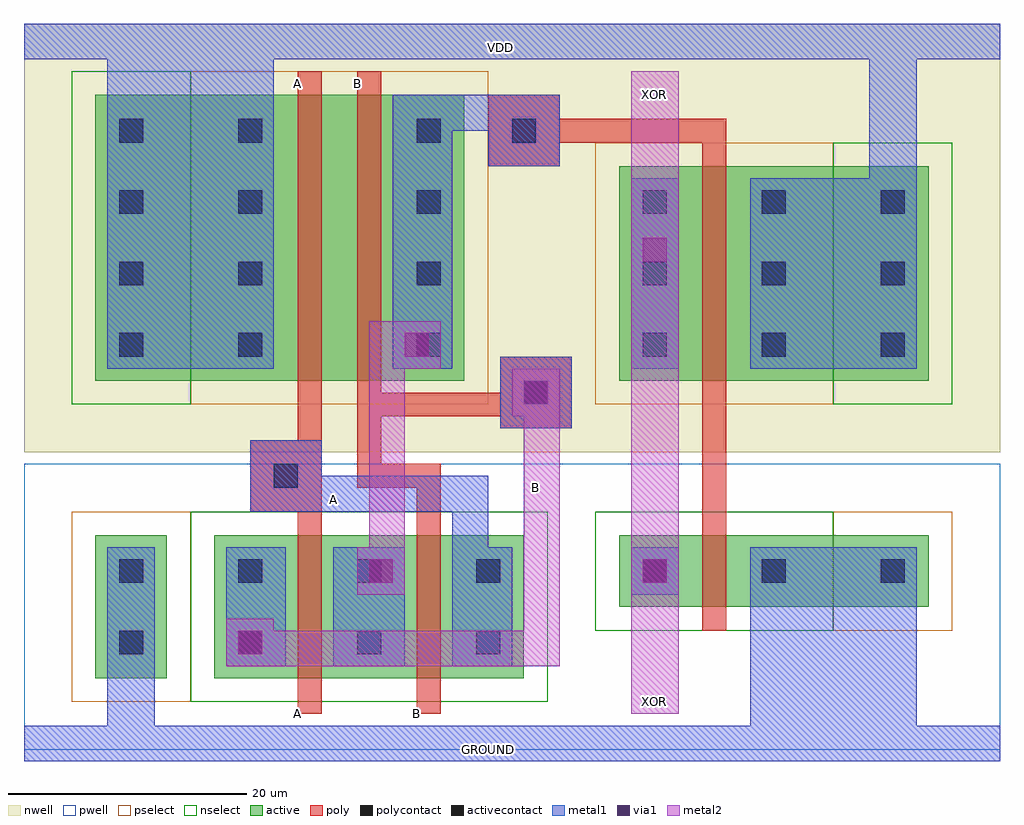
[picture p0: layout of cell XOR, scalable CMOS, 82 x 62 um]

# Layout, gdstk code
import gdstk
lib = gdstk.Library(unit=1e-6, precision=1e-09)
def R(c, l, rs):  # rectangles x0, y0, x1, y1
    for r in rs: c.add(gdstk.rectangle(r[:2], r[2:], *l))
def A(c, l, x, y, w, h, nx, ny, dx, dy):  # array of equal rectangles
    R(c, l, [(x+i*dx, y+j*dy, x+i*dx+w, y+j*dy+h) for i in range(nx) for j in range(ny)])
def P(c, l, *ps):  # polygons
    for p in ps: c.add(gdstk.Polygon(p, *l))
pwell = (41, 0)
nwell = (42, 0)
active = (43, 0)
pselect = (44, 0)
nselect = (45, 0)
poly = (46, 0)
polycontact = (47, 0)
activecontact = (48, 0)
metal1 = (49, 0)
via1 = (50, 0)
metal2 = (51, 0)

xor = lib.new_cell('XOR')
R(xor, pwell, [(-36,-45,46,-21)])
R(xor, nwell, [(-36,-20,46,16)])
R(xor, active, [(-30,-39,-24,-27), (-20,-39,6,-27), (14,-33,40,-27), (-30,-14,1,10), (14,-14,40,4)])
R(xor, pselect, [(-32,-41,-22,-25), (32,-35,42,-25), (-22,-16,3,12), (12,-16,32,6)])
R(xor, nselect, [(-22,-41,8,-25), (12,-35,32,-25), (-32,-16,-22,12), (32,-16,42,6)])
P(xor, poly, [(-8,-23),(-3,-23),(-3,-42),(-1,-42),(-1,-21),(-6,-21),(-6,-17),(4,-17),(4,-18),(10,-18),(10,-12),(4,-12),(4,-15),(-6,-15),(-6,12),(-8,12)],
  [(3,4),(9,4),(9,6),(21,6),(21,-35),(23,-35),(23,8),(9,8),(9,10),(3,10)],
  [(-17,-25),(-13,-25),(-13,-42),(-11,-42),(-11,12),(-13,12),(-13,-19),(-17,-19)])
R(xor, polycontact, [(-15,-23,-13,-21), (6,-16,8,-14), (5,6,7,8)])
A(xor, activecontact, -28, -37, 2, 2, 4, 2, 10, 6)
A(xor, activecontact, 16, -31, 2, 2, 3, 2, 10, 19)
A(xor, activecontact, -28, -12, 2, 2, 1, 4, 0, 6)
A(xor, activecontact, -18, -12, 2, 2, 1, 4, 0, 6)
A(xor, activecontact, -3, -12, 2, 2, 1, 4, 0, 6)
A(xor, activecontact, 16, -6, 2, 2, 3, 2, 10, 6)
R(xor, metal1, [(-19,-38,-14,-28), (-10,-38,-4,-28), (15,-32,19,-28), (4,-18,10,-12), (15,-13,19,3)])
P(xor, metal1, [(-36,13),(-29,13),(-29,-13),(-15,-13),(-15,13),(35,13),(35,3),(25,3),(25,-13),(39,-13),(39,13),(46,13),(46,16),(-36,16)],
  [(-17,-25),(0,-25),(0,-38),(5,-38),(5,-28),(3,-28),(3,-22),(-11,-22),(-11,-19),(-17,-19)],
  [(-36,-46),(46,-46),(46,-43),(39,-43),(39,-28),(25,-28),(25,-43),(-25,-43),(-25,-28),(-29,-28),(-29,-43),(-36,-43)],
  [(-5,-13),(0,-13),(0,7),(3,7),(3,4),(9,4),(9,10),(-5,10)])
R(xor, via1, [(-18,-37,-16,-35), (-7,-31,-5,-29), (16,-31,18,-29), (6,-16,8,-14), (-4,-12,-2,-10), (16,-4,18,-2)])
R(xor, metal2, [(15,-42,19,12)])
P(xor, metal2, [(-19,-38),(9,-38),(9,-13),(5,-13),(5,-17),(6,-17),(6,-35),(-15,-35),(-15,-34),(-19,-34)],
  [(-8,-32),(-4,-32),(-4,-13),(-1,-13),(-1,-9),(-7,-9),(-7,-28),(-8,-28)])
xor.add(gdstk.Label('B', (7,-23), layer=3, texttype=0))
xor.add(gdstk.Label('XOR', (17,-41), layer=3, texttype=0))
xor.add(gdstk.Label('XOR', (17,10), layer=42, texttype=0))
xor.add(gdstk.Label('VDD', (4,14), layer=2, texttype=0))
xor.add(gdstk.Label('GROUND', (3,-45), layer=2, texttype=0))
xor.add(gdstk.Label('A', (-10,-24), layer=2, texttype=0))
xor.add(gdstk.Label('A', (-13,-42), layer=49, texttype=0))
xor.add(gdstk.Label('B', (-3,-42), layer=49, texttype=0))
xor.add(gdstk.Label('A', (-13,11), layer=49, texttype=0))
xor.add(gdstk.Label('B', (-8,11), layer=49, texttype=0))

lib.write_gds('XOR.gds')
